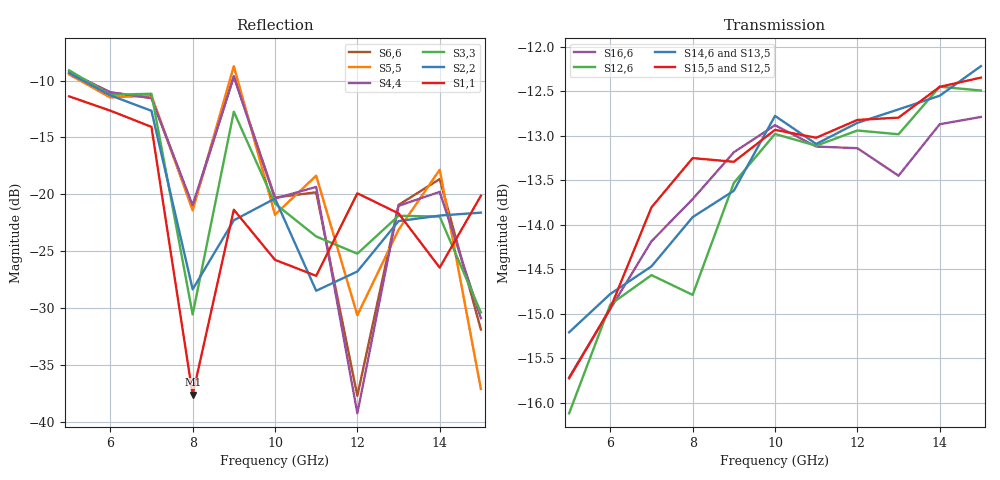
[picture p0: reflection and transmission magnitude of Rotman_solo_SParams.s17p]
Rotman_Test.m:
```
clc
clear
clf

v0 = 299792458;
f=15e9;
lambda0 = v0/10e9;
lambda = v0/f;

sd = 0.5;
d = sd*lambda0;
Na = 8;
Nb = 9;
theta = 30;

y3 = (1:1:Na)*d - (Na + 1)*d/2;
theta = linspace(-2*pi*theta/360, 2*pi*theta/360, Nb);
dPhase = (2*pi/lambda).*(y3.')*sin(theta);

data = sparameters('Rotman_solo_SParams.s17p');

Freq = data.Frequencies;
SnP = data.Parameters;
freqrange = 1:length(Freq);

C = {'c', 'm', 'b', 'r', 'k', 'r', 'b', 'm', 'c'};

for ind = 1:9
    freq_ind = freqrange(Freq == f);
    plot(unwrap(angle(SnP(10:17,ind,freq_ind))) - angle(SnP(10,ind,freq_ind)), 'color', C{ind}, 'LineWidth', 3)

    hold on
    plot(unwrap(dPhase(:,ind)) - dPhase(1,ind), '--', 'color', C{ind}, 'LineWidth', 3)
end

ylabel('Beam-forming unwrapped phase (rad)')
xlabel('Array element number')
hold on
grid on

qw{1} = plot(nan, 'k-', 'LineWidth', 3);
qw{2} = plot(nan, 'k--', 'LineWidth', 3);
legend([qw{:}], {'HFSS', 'Analytical (GO)'}, 'location', 'northwest');
```
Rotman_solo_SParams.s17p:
! Touchstone file exported from HFSS 2024.2.0
!  File:  /research/alimos/rotman/hfss/Rotman.aedt
!  Generated:  06:54:36 PM May 14, 2025
!  Design:  Rotman
!  Project:  Rotman
!  Setup:  Setup1
!  Solution:  Sweep
! Variables:
!  SubL = 250mm
!  SubTh = 0.688mm
!  SubW = 300mm
!  W1 = 0.0239mm
!  W2 = 0.2113mm
!  W3 = 0.5655mm
!  W4 = 1.031mm
!  X1 = 78.4823mm
!  X10 = 123.3361mm
!  X11 = 76.5242mm
!  X12 = 120.3657mm
!  X13 = 135.3124mm
!  X14 = 134.902mm
!  X15 = 119.9554mm
!  X16 = 74.0986mm
!  X17 = 115.6714mm
!  X18 = 129.9875mm
!  X19 = 129.432mm
!  X2 = 125.193mm
!  X20 = 115.1159mm
!  X21 = 70.7948mm
!  X22 = 101.8641mm
!  X23 = 112.8012mm
!  X24 = 111.823mm
!  X25 = 100.8858mm
!  X26 = 66.3323mm
!  X27 = 95.3741mm
!  X28 = 105.6972mm
!  X29 = 104.6695mm
!  X3 = 140.8332mm
!  X30 = 94.3464mm
!  X31 = 61.4498mm
!  X32 = 85.8115mm
!  X33 = 94.7039mm
!  X34 = 93.5791mm
!  X35 = 84.6867mm
!  X36 = 55.6941mm
!  X37 = 71.5978mm
!  X38 = 77.8378mm
!  X39 = 76.5847mm
!  X4 = 140.7483mm
!  X40 = 70.3448mm
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# GHz S MA R 50.000000
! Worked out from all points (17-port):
!   11 points, 5 GHz to 15 GHz, reference 50 ohm
!   strongest paths, dB at 5 GHz, 7 GHz, 10 GHz, 13 GHz, 15 GHz:
!     S15,5: -15.7, -13.8, -12.9, -12.8, -12.3
!     S14,6: -15.2, -14.5, -12.8, -12.7, -12.2
!     S12,6: -16.1, -14.6, -13.0, -13.0, -12.5
!     S12,5: -15.7, -13.8, -13.0, -12.7, -12.2
!     S13,5: -15.0, -14.6, -13.2, -12.4, -12.1
!     S16,6: -15.7, -14.2, -12.9, -13.4, -12.8
!   lowest |S11| = -37.6 dB at 8 GHz (marker M1), VSWR 1.03, Z = 49.1 - j0.956 ohm
!   |S11| at or under -10 dB: start of sweep to end of sweep
